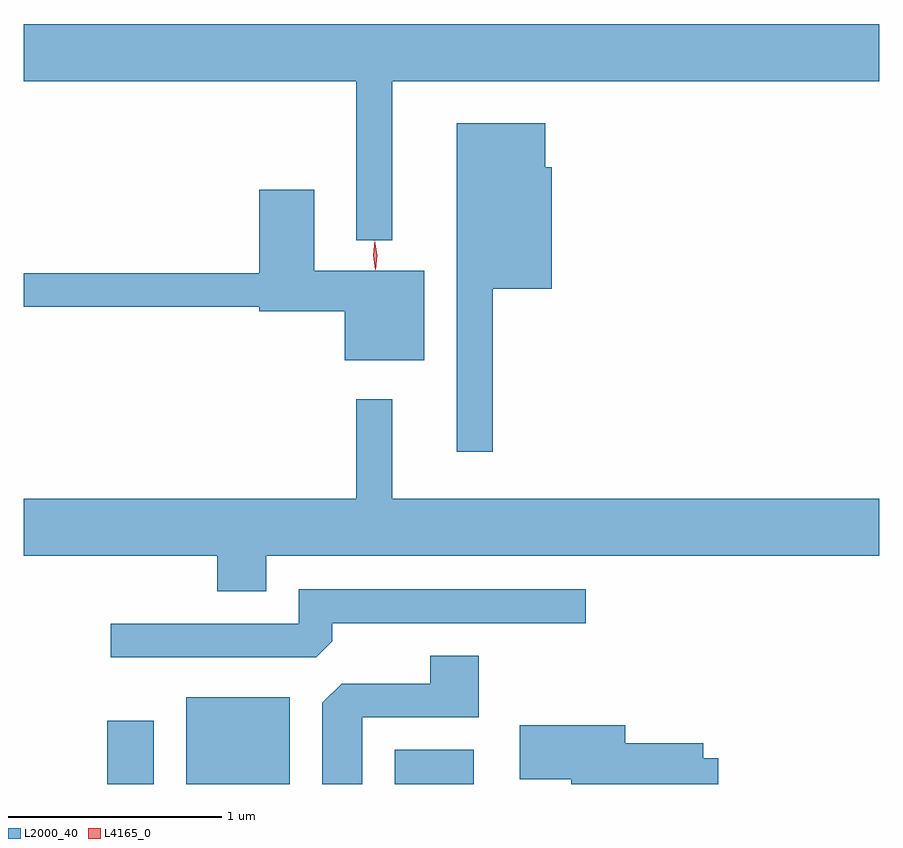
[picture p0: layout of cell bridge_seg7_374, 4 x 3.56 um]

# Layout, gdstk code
import gdstk
lib = gdstk.Library(unit=1e-6, precision=1e-09)
def R(c, l, rs):  # rectangles x0, y0, x1, y1
    for r in rs: c.add(gdstk.rectangle(r[:2], r[2:], *l))
def P(c, l, *ps):  # polygons
    for p in ps: c.add(gdstk.Polygon(p, *l))
L2000_40 = (2000, 40)
L4165_0 = (4165, 0)

bridge_seg7_374 = lib.new_cell('bridge_seg7_374')
R(bridge_seg7_374, L2000_40, [(1129.196,1764.309,1129.414,1764.604), (1129.566,1764.309,1130.049,1764.714), (1130.541,1764.309,1130.909,1764.469)])
P(bridge_seg7_374, L2000_40, [(1130.529,1767.596),(1132.806,1767.596),(1132.806,1767.864),(1128.806,1767.864),(1128.806,1767.596),(1130.361,1767.596),(1130.361,1766.853),(1130.529,1766.853)],
  [(1130.999,1766.626),(1131.274,1766.626),(1131.274,1767.194),(1131.244,1767.194),(1131.244,1767.399),(1130.831,1767.399),(1130.831,1765.863),(1130.999,1765.863)],
  [(1130.679,1766.709),(1130.164,1766.709),(1130.164,1767.089),(1129.906,1767.089),(1129.906,1766.699),(1128.806,1766.699),(1128.806,1766.541),(1129.906,1766.541),(1129.906,1766.521),(1130.306,1766.521),(1130.306,1766.291),(1130.679,1766.291)],
  [(1129.939,1765.376),(1132.806,1765.376),(1132.806,1765.644),(1130.529,1765.644),(1130.529,1766.108),(1130.361,1766.108),(1130.361,1765.644),(1128.806,1765.644),(1128.806,1765.376),(1129.711,1765.376),(1129.711,1765.211),(1129.939,1765.211)],
  [(1130.249,1764.977),(1130.249,1765.061),(1131.433,1765.061),(1131.433,1765.219),(1130.091,1765.219),(1130.091,1765.059),(1129.213,1765.059),(1129.213,1764.901),(1130.174,1764.901)],
  [(1130.389,1764.621),(1130.934,1764.621),(1130.934,1764.909),(1130.706,1764.909),(1130.706,1764.779),(1130.292,1764.779),(1130.201,1764.689),(1130.201,1764.309),(1130.389,1764.309)],
  [(1132.054,1764.429),(1131.984,1764.429),(1131.984,1764.499),(1131.619,1764.499),(1131.619,1764.584),(1131.126,1764.584),(1131.126,1764.331),(1131.366,1764.331),(1131.366,1764.309),(1132.054,1764.309)])
P(bridge_seg7_374, L4165_0, [(1130.45,1766.714),(1130.439,1766.782),(1130.447,1766.849),(1130.447,1766.85),(1130.448,1766.849),(1130.459,1766.782),(1130.451,1766.714),(1130.451,1766.714)])

lib.write_gds('bridge_seg7_374.gds')
